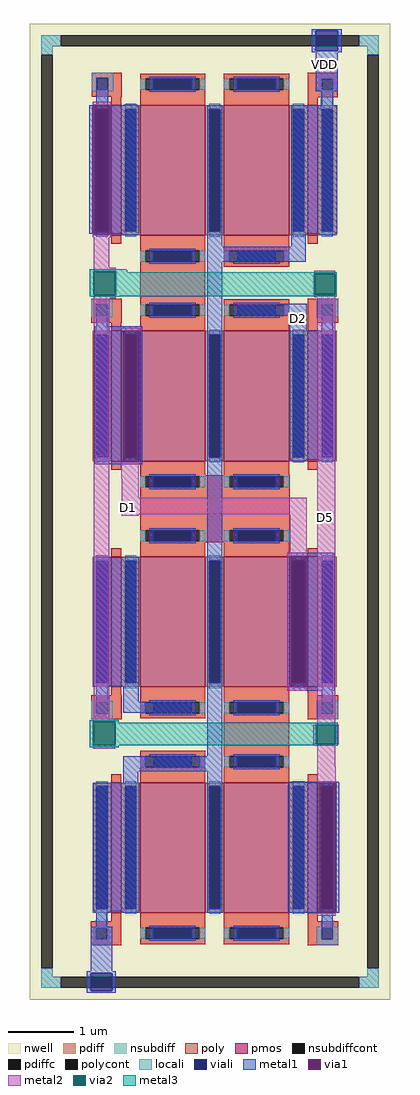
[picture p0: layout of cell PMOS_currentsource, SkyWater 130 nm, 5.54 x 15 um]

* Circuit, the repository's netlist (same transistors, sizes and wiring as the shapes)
** sch_path: /root/latihan/opamp/mag_file/PMOS_currentsource/PMOS_currentsource.sch
.subckt PMOS_currentsource VDD D2 D1 D5
*.PININFO VDD:B D5:B D2:B D1:B
XM1 D1 D2 VDD VDD sky130_fd_pr__pfet_01v8 L=1 W=2 nf=1 m=2
XM2 D2 D2 VDD VDD sky130_fd_pr__pfet_01v8 L=1 W=2 nf=1 m=2
XM5 D5 D2 VDD VDD sky130_fd_pr__pfet_01v8 L=1 W=2 nf=1 m=2
XM3 VDD VDD VDD VDD sky130_fd_pr__pfet_01v8 L=1 W=2 nf=1 m=2
XM4 VDD VDD VDD VDD sky130_fd_pr__pfet_01v8 L=0.15 W=2 nf=1 m=2
XM6 D2 D2 D2 VDD sky130_fd_pr__pfet_01v8 L=0.15 W=2 nf=1 m=2
XM7 D1 D1 D1 VDD sky130_fd_pr__pfet_01v8 L=0.15 W=2 nf=1 m=2
XM8 D5 D5 D5 VDD sky130_fd_pr__pfet_01v8 L=0.15 W=2 nf=1 m=2
.ends
.end

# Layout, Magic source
magic
tech sky130A
magscale 1 2
<< nwell >>
rect -245 -167 863 2833
<< nsubdiff >>
rect -209 2763 -149 2797
rect 767 2763 827 2797
rect -209 2737 -175 2763
rect 793 2737 827 2763
rect -209 -97 -175 -71
rect 793 -97 827 -71
rect -209 -131 -149 -97
rect 767 -131 827 -97
<< nsubdiffcont >>
rect -149 2763 767 2797
rect -209 -71 -175 2737
rect 793 -71 827 2737
rect -149 -131 767 -97
<< poly >>
rect -55 2664 38 2682
rect -55 2630 -39 2664
rect -5 2630 38 2664
rect -55 2608 38 2630
rect 609 2663 702 2681
rect 609 2629 652 2663
rect 686 2629 702 2663
rect 609 2607 702 2629
rect -56 1969 37 1987
rect 94 1982 294 2088
rect -56 1935 -40 1969
rect -6 1935 37 1969
rect -56 1913 37 1935
rect 610 1969 703 1987
rect 610 1935 653 1969
rect 687 1935 703 1969
rect 610 1913 703 1935
rect 94 1238 554 1444
rect -56 746 37 768
rect -56 712 -40 746
rect -6 712 37 746
rect -56 694 37 712
rect 610 746 703 768
rect 610 712 653 746
rect 687 712 703 746
rect 352 594 552 700
rect 610 694 703 712
rect -57 52 36 74
rect -57 18 -41 52
rect -7 18 36 52
rect -57 0 36 18
rect 610 52 703 74
rect 610 18 653 52
rect 687 18 703 52
rect 610 0 703 18
<< polycont >>
rect -39 2630 -5 2664
rect 652 2629 686 2663
rect -40 1935 -6 1969
rect 653 1935 687 1969
rect -40 712 -6 746
rect 653 712 687 746
rect -41 18 -7 52
rect 653 18 687 52
<< locali >>
rect -209 2763 -149 2797
rect 767 2763 827 2797
rect -209 2737 -175 2763
rect 793 2737 827 2763
rect -55 2664 11 2681
rect -55 2630 -39 2664
rect -5 2630 11 2664
rect -55 2625 11 2630
rect 636 2663 702 2680
rect 636 2629 652 2663
rect 686 2629 702 2663
rect -40 2606 -3 2625
rect 636 2624 702 2629
rect -40 2570 -6 2606
rect 650 2570 687 2624
rect -56 1969 10 1986
rect -56 1935 -40 1969
rect -6 1935 10 1969
rect -56 1930 10 1935
rect 637 1969 703 1986
rect 637 1935 653 1969
rect 687 1935 703 1969
rect 637 1930 703 1935
rect -41 1911 -4 1930
rect -40 1873 -6 1911
rect 651 1858 688 1930
rect -40 770 -6 806
rect 652 770 686 806
rect -41 751 -4 770
rect 651 751 688 770
rect -56 746 10 751
rect -56 712 -40 746
rect -6 712 10 746
rect -56 695 10 712
rect 637 746 703 751
rect 637 712 653 746
rect 687 712 703 746
rect 637 695 703 712
rect -40 76 -6 112
rect 652 76 686 112
rect -42 57 -5 76
rect 651 57 688 76
rect -57 52 9 57
rect -57 18 -41 52
rect -7 18 9 52
rect -57 1 9 18
rect 637 52 703 57
rect 637 18 653 52
rect 687 18 703 52
rect 637 1 703 18
rect -209 -97 -175 -71
rect 793 -97 827 -71
rect -209 -131 -149 -97
rect 767 -131 827 -97
<< viali >>
rect 634 2797 702 2810
rect 634 2763 702 2797
rect 634 2750 702 2763
rect 306 2194 340 2570
rect 306 1500 340 1876
rect 306 806 340 1182
rect 306 112 340 488
rect -58 -97 8 -86
rect -58 -131 8 -97
rect -58 -140 8 -131
<< metal1 >>
rect 622 2810 714 2816
rect 622 2750 634 2810
rect 702 2750 714 2810
rect 622 2744 714 2750
rect -40 2582 -4 2667
rect 634 2624 702 2744
rect 44 2582 86 2584
rect 652 2582 688 2624
rect -62 2186 -52 2582
rect 6 2186 90 2582
rect 300 2570 346 2574
rect 300 2194 306 2570
rect 340 2194 346 2570
rect 300 2147 346 2194
rect 558 2186 700 2582
rect 558 2147 604 2186
rect 300 2101 604 2147
rect -41 1902 -7 1971
rect -46 1888 100 1902
rect -46 1486 36 1888
rect 92 1486 100 1888
rect -46 1478 100 1486
rect 300 1876 346 2101
rect 390 1934 606 1972
rect 300 1500 306 1876
rect 340 1500 346 1876
rect -52 796 90 1192
rect -40 712 -6 796
rect 42 748 90 796
rect 300 1182 346 1500
rect 554 1888 606 1934
rect 652 1888 687 1969
rect 554 1492 696 1888
rect 300 806 306 1182
rect 340 806 346 1182
rect 42 714 254 748
rect 300 581 346 806
rect 546 1196 692 1206
rect 546 794 552 1196
rect 608 794 692 1196
rect 546 782 692 794
rect 653 711 686 782
rect 42 535 346 581
rect 42 500 88 535
rect -50 104 92 500
rect 300 488 346 535
rect 300 112 306 488
rect 340 112 346 488
rect 300 108 346 112
rect 550 500 704 502
rect -40 56 -8 104
rect 44 102 84 104
rect 550 100 638 500
rect 696 100 706 500
rect -58 -80 8 56
rect 652 18 686 100
rect -70 -86 20 -80
rect -70 -140 -58 -86
rect 8 -140 20 -86
rect -70 -146 20 -140
<< via1 >>
rect -52 2186 6 2582
rect 36 1486 92 1888
rect 552 794 608 1196
rect 638 100 696 500
<< metal2 >>
rect -52 2582 6 2592
rect -52 2176 6 2186
rect -48 2082 0 2176
rect -48 2072 20 2082
rect -48 1988 20 1998
rect 630 2064 694 2073
rect 630 1991 694 2000
rect -48 696 0 1988
rect 36 1888 92 1898
rect 36 1476 92 1486
rect 36 1434 90 1476
rect 38 1376 90 1434
rect 38 1324 606 1376
rect 38 1320 90 1324
rect 554 1206 606 1324
rect 546 1196 608 1206
rect 546 794 552 1196
rect 546 782 608 794
rect -50 686 18 696
rect 638 678 694 1991
rect 627 618 636 678
rect 696 618 705 678
rect -50 604 18 614
rect 638 548 694 618
rect 638 500 696 548
rect 638 90 696 100
<< via2 >>
rect -48 1998 20 2072
rect 630 2000 694 2064
rect -50 614 18 686
rect 636 618 696 678
<< metal3 >>
rect -60 2074 52 2078
rect -60 2072 54 2074
rect -60 1998 -48 2072
rect 20 2069 54 2072
rect 20 2064 699 2069
rect 20 2000 630 2064
rect 694 2000 699 2064
rect 20 1998 699 2000
rect -60 1995 699 1998
rect -60 1994 52 1995
rect -58 1993 30 1994
rect -60 686 28 691
rect -60 614 -50 686
rect 18 684 28 686
rect 18 683 636 684
rect 18 678 701 683
rect 18 618 636 678
rect 696 618 701 678
rect 18 614 701 618
rect -60 609 28 614
rect 631 613 701 614
use sky130_fd_pr__pfet_01v8_2ZH9AN  sky130_fd_pr__pfet_01v8_2ZH9AN_0
transform 1 0 625 0 1 994
box -109 -262 109 262
use sky130_fd_pr__pfet_01v8_2ZH9AN  sky130_fd_pr__pfet_01v8_2ZH9AN_1
transform 1 0 21 0 1 2382
box -109 -262 109 262
use sky130_fd_pr__pfet_01v8_2ZH9AN  sky130_fd_pr__pfet_01v8_2ZH9AN_2
transform 1 0 625 0 1 2382
box -109 -262 109 262
use sky130_fd_pr__pfet_01v8_2ZH9AN  sky130_fd_pr__pfet_01v8_2ZH9AN_3
transform 1 0 625 0 1 1688
box -109 -262 109 262
use sky130_fd_pr__pfet_01v8_2ZH9AN  sky130_fd_pr__pfet_01v8_2ZH9AN_4
transform 1 0 21 0 1 1688
box -109 -262 109 262
use sky130_fd_pr__pfet_01v8_2ZH9AN  sky130_fd_pr__pfet_01v8_2ZH9AN_5
transform 1 0 21 0 1 300
box -109 -262 109 262
use sky130_fd_pr__pfet_01v8_2ZH9AN  sky130_fd_pr__pfet_01v8_2ZH9AN_6
transform 1 0 21 0 1 994
box -109 -262 109 262
use sky130_fd_pr__pfet_01v8_2ZH9AN  sky130_fd_pr__pfet_01v8_2ZH9AN_7
transform 1 0 625 0 1 300
box -109 -262 109 262
use sky130_fd_pr__pfet_01v8_SDE6B7  sky130_fd_pr__pfet_01v8_SDE6B7_0
transform 1 0 323 0 1 300
box -323 -300 323 300
use sky130_fd_pr__pfet_01v8_SDE6B7  sky130_fd_pr__pfet_01v8_SDE6B7_1
transform 1 0 323 0 1 2382
box -323 -300 323 300
use sky130_fd_pr__pfet_01v8_SDE6B7  sky130_fd_pr__pfet_01v8_SDE6B7_2
transform 1 0 323 0 1 1688
box -323 -300 323 300
use sky130_fd_pr__pfet_01v8_SDE6B7  sky130_fd_pr__pfet_01v8_SDE6B7_3
transform 1 0 323 0 1 994
box -323 -300 323 300
<< labels >>
flabel metal1 662 2706 662 2706 0 FreeSans 800 0 0 0 VDD
port 0 nsew
flabel metal1 580 1926 580 1926 0 FreeSans 800 0 0 0 D2
port 1 nsew
flabel metal2 60 1346 60 1346 0 FreeSans 800 0 0 0 D1
port 2 nsew
flabel metal2 664 1314 664 1314 0 FreeSans 800 0 0 0 D5
port 3 nsew
<< end >>

# cell sky130_fd_pr__pfet_01v8_2ZH9AN: kit device sky130_fd_pr__pfet_01v8, w 2 l 0.15 m 1 nf 1 diffcov 100 polycov 100 guard 0 glc 1 grc 1 gtc 1 gbc 1 tbcov 100 rlcov 100 topc 0 botc 0 poverlap 0 doverlap 1 lmin 0.15 wmin 0.42 compatible {sky130_fd_pr__pfet_01v8 sky130_fd_pr__pfet_01v8_lvt sky130_fd_pr__pfet_01v8_hvt sky130_fd_pr__pfet_g5v0d10v5} full_metal 1 viasrc 100 viadrn 100 viagate 100 viagb 0 viagr 0 viagl 0 viagt 0

# cell sky130_fd_pr__pfet_01v8_SDE6B7: kit device sky130_fd_pr__pfet_01v8, w 2 l 1 m 1 nf 2 diffcov 100 polycov 100 guard 0 glc 1 grc 1 gtc 1 gbc 1 tbcov 100 rlcov 100 topc 1 botc 1 poverlap 0 doverlap 1 lmin 0.15 wmin 0.42 compatible {sky130_fd_pr__pfet_01v8 sky130_fd_pr__pfet_01v8_lvt sky130_fd_pr__pfet_01v8_hvt sky130_fd_pr__pfet_g5v0d10v5} full_metal 1 viasrc 100 viadrn 100 viagate 70 viagb 0 viagr 0 viagl 0 viagt 0
